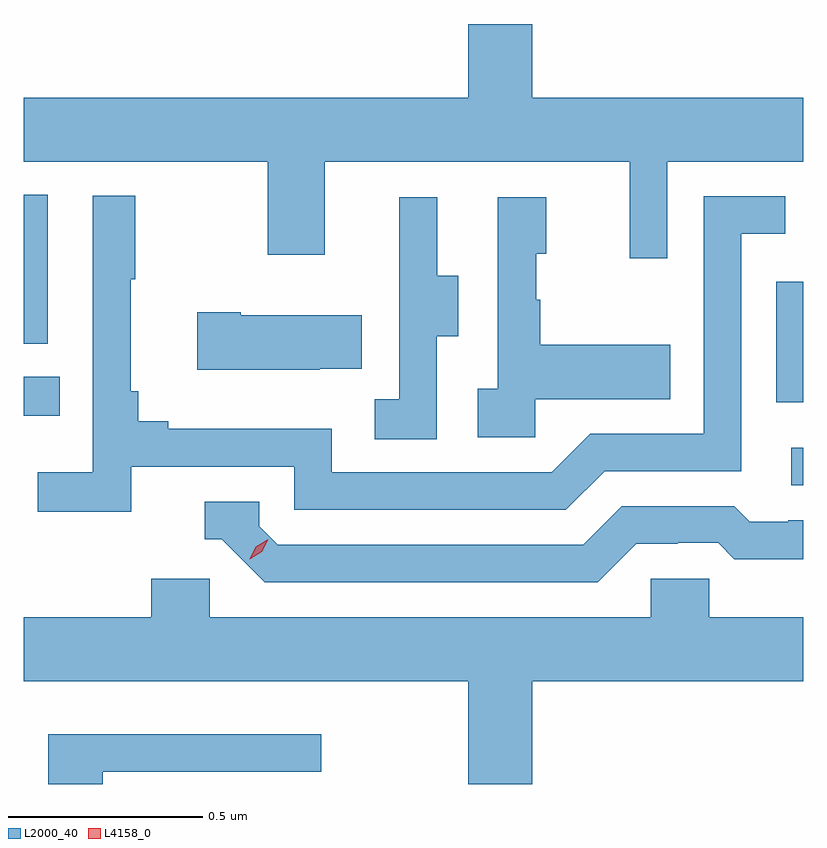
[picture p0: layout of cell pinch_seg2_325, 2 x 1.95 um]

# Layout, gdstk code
import gdstk
lib = gdstk.Library(unit=1e-6, precision=1e-09)
def R(c, l, rs):  # rectangles x0, y0, x1, y1
    for r in rs: c.add(gdstk.rectangle(r[:2], r[2:], *l))
def P(c, l, *ps):  # polygons
    for p in ps: c.add(gdstk.Polygon(p, *l))
L2000_40 = (2000, 40)
L4158_0 = (4158, 0)

pinch_seg2_325 = lib.new_cell('pinch_seg2_325')
R(pinch_seg2_325, L2000_40, [(945.057,626.826,945.088,626.922), (943.088,627.005,943.181,627.104), (945.018,627.039,945.088,627.348), (943.088,627.189,943.15,627.571)])
P(pinch_seg2_325, L2000_40, [(944.739,627.656),(945.088,627.656),(945.088,627.82),(944.392,627.82),(944.392,628.009),(944.228,628.009),(944.228,627.82),(943.088,627.82),(943.088,627.656),(943.714,627.656),(943.714,627.417),(943.861,627.417),(943.861,627.656),(944.642,627.656),(944.642,627.408),(944.739,627.408)],
  [(943.364,626.874),(943.782,626.874),(943.782,626.763),(944.479,626.763),(944.578,626.862),(944.928,626.862),(944.928,627.471),(945.041,627.471),(945.041,627.567),(944.832,627.567),(944.832,626.958),(944.541,626.958),(944.442,626.859),(943.878,626.859),(943.878,626.971),(943.459,626.971),(943.459,626.99),(943.382,626.99),(943.382,627.067),(943.363,627.067),(943.363,627.355),(943.375,627.355),(943.375,627.568),(943.266,627.568),(943.266,626.86),(943.125,626.86),(943.125,626.758),(943.364,626.758)],
  [(944.148,627.208),(944.203,627.208),(944.203,627.363),(944.149,627.363),(944.149,627.565),(944.051,627.565),(944.051,627.351),(944.052,627.351),(944.052,627.047),(943.989,627.047),(943.989,626.944),(944.148,626.944)],
  [(944.4,627.047),(944.747,627.047),(944.747,627.187),(944.413,627.187),(944.413,627.302),(944.403,627.302),(944.403,627.42),(944.428,627.42),(944.428,627.565),(944.304,627.565),(944.304,627.074),(944.253,627.074),(944.253,626.949),(944.4,626.949)],
  [(943.847,627.125),(943.955,627.125),(943.955,627.262),(943.645,627.262),(943.645,627.27),(943.533,627.27),(943.533,627.122),(943.847,627.122)],
  [(944.659,626.676),(944.766,626.676),(944.766,626.679),(944.869,626.679),(944.911,626.637),(945.088,626.637),(945.088,626.736),(945.049,626.736),(945.049,626.733),(944.95,626.733),(944.911,626.772),(944.622,626.772),(944.523,626.673),(943.74,626.673),(943.692,626.721),(943.692,626.784),(943.553,626.784),(943.553,626.688),(943.596,626.688),(943.707,626.577),(944.56,626.577)],
  [(944.392,626.324),(945.088,626.324),(945.088,626.488),(944.847,626.488),(944.847,626.586),(944.697,626.586),(944.697,626.488),(943.566,626.488),(943.566,626.586),(943.415,626.586),(943.415,626.488),(943.088,626.488),(943.088,626.324),(944.228,626.324),(944.228,626.06),(944.392,626.06)],
  [(943.291,626.091),(943.852,626.091),(943.852,626.188),(943.151,626.188),(943.151,626.06),(943.291,626.06)])
P(pinch_seg2_325, L4158_0, [(943.668,626.636),(943.668,626.636),(943.684,626.668),(943.715,626.688),(943.716,626.688),(943.716,626.688),(943.699,626.655),(943.668,626.636)])

lib.write_gds('pinch_seg2_325.gds')
